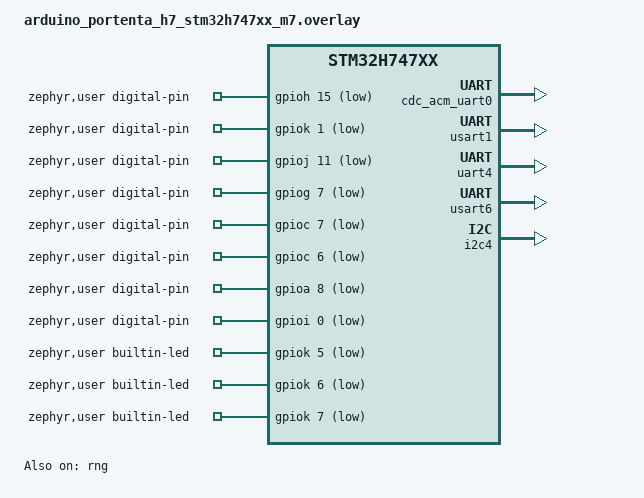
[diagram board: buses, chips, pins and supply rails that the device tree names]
&zephyr_udc0 {
	cdc_acm_uart0: cdc_acm_uart0 {
		compatible = "zephyr,cdc-acm-uart";
		status = "okay";
	};
};

&usart1 {
	status = "okay";
};

&uart4 {
	status = "okay";
};

&usart6 {
	status = "okay";
};

&cdc_acm_uart0 {
	status = "okay";
};

&i2c4 {
	status = "okay";
};

&rng {
	status = "okay";
};

/ {
	chosen {
		zephyr,console = &usart6;
		zephyr,shell-uart = &usart6;
		zephyr,cdc-acm-uart0 = &usart6;
	};
};

/ {
	soc {
		flash-controller@52002000 {
			flash0: flash@8000000 {
				compatible = "st,stm32-nv-flash", "soc-nv-flash";
				write-block-size = <32>;
				erase-block-size = <DT_SIZE_K(128)>;
				/* maximum erase time for a 128K sector */
				max-erase-time = <4000>;

				reg = <0x08000000 DT_SIZE_K(1024)>;
				status = "okay";

				partitions {
					compatible = "fixed-partitions";
					#address-cells = <1>;
					#size-cells = <1>;

					user_sketch: partition@e0000 {
						reg = <0x0E0000 0x20000>;
					};
				};
			};
		};
	};
};

/ {
	zephyr,user {
		digital-pin-gpios = <&gpioh 15 GPIO_ACTIVE_LOW>,
				    <&gpiok 1 GPIO_ACTIVE_LOW>,
				    <&gpioj 11 GPIO_ACTIVE_LOW>,
				    <&gpiog 7 GPIO_ACTIVE_LOW>,
				    <&gpioc 7 GPIO_ACTIVE_LOW>,
				    <&gpioc 6 GPIO_ACTIVE_LOW>,
				    <&gpioa 8 GPIO_ACTIVE_LOW>,
				    <&gpioi 0 GPIO_ACTIVE_LOW>,
				    <&gpioc 3 GPIO_ACTIVE_LOW>,
				    <&gpioi 1 GPIO_ACTIVE_LOW>,
				    <&gpioc 2 GPIO_ACTIVE_LOW>,
				    <&gpioh 8 GPIO_ACTIVE_LOW>,
				    <&gpioh 7 GPIO_ACTIVE_LOW>,
				    <&gpioa 10 GPIO_ACTIVE_LOW>,
				    <&gpioa 9 GPIO_ACTIVE_LOW>,
					<&gpiok 5 GPIO_ACTIVE_LOW>;	// LEDR

		builtin-led-gpios = <&gpiok 5 GPIO_ACTIVE_LOW>,
                        <&gpiok 6 GPIO_ACTIVE_LOW>,
                        <&gpiok 7 GPIO_ACTIVE_LOW>;

		serials = <&cdc_acm_uart0>,<&usart6>, <&usart1>, <&uart4>;
		cdc-acm = <&cdc_acm_uart0>;
		i2cs = <&i2c4>;
	};
};
